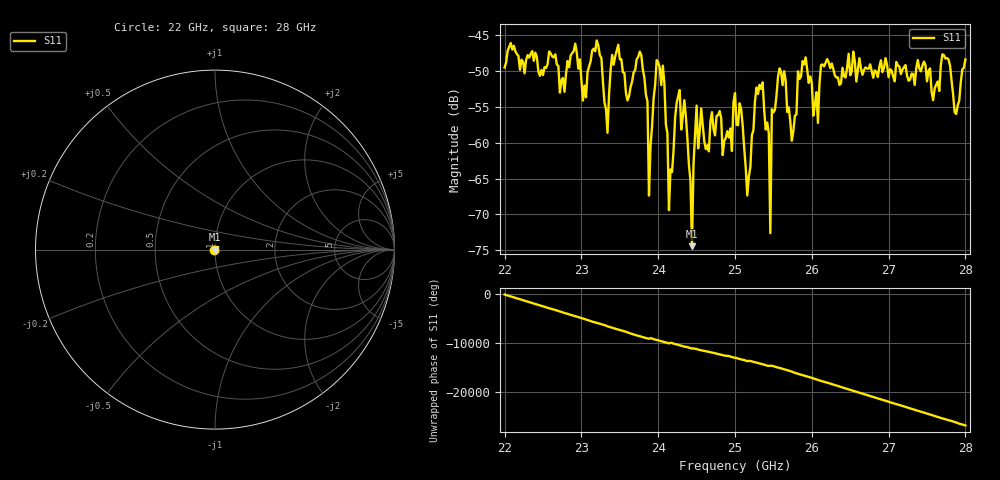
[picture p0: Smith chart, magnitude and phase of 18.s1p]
#  HZ  S  RI  R  50.00
! Rohde & Schwarz ZVA40 4Ports - Version 3.90 - 1145.1110k42 SN: 100403
! Date: 2023-10-04 07:15:29
! Measurement: S12
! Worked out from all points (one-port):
!   301 points, 22 GHz to 28 GHz, reference 50 ohm
!   lowest |S11| = -74.4 dB at 24.44 GHz (marker M1), VSWR 1.00, Z = 50 - j0.0139 ohm
!   |S11| at or under -10 dB: start of sweep to end of sweep
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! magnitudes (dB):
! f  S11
! 22 GHz  -49.5
! 22.76 GHz  -51.0
! 23.2 GHz  -45.8
! 23.34 GHz  -58.6
! 23.5 GHz  -48.4
! 23.78 GHz  -47.8
! 23.86 GHz  -54.2
! 23.88 GHz  -67.4
! 23.98 GHz  -48.5
! 24.06 GHz  -49.3
! 24.14 GHz  -69.4
! 24.26 GHz  -53.5
! 24.36 GHz  -56.3
! 24.44 GHz  -74.4
! 24.5 GHz  -54.8
! 25 GHz  -53.1
! 25.16 GHz  -67.4
! 25.36 GHz  -51.6
! 25.44 GHz  -58.7
! 25.46 GHz  -72.6
! 25.48 GHz  -55.3
! 25.58 GHz  -49.7
! 25.76 GHz  -58.4
! 25.92 GHz  -48.1
! 26.08 GHz  -57.2
! 26.5 GHz  -50.6
! 27.26 GHz  -51.4
! 28 GHz  -48.4
